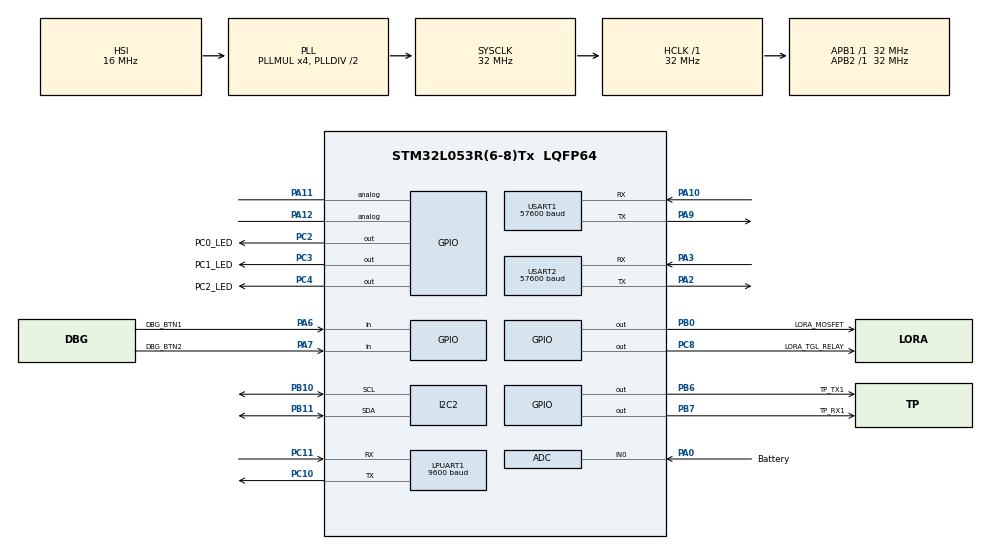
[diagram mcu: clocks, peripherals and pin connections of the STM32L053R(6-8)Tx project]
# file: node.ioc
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Dma.Request0=USART2_RX
Dma.Request1=USART2_TX
Dma.Request2=USART1_RX
Dma.Request3=USART1_TX
Dma.USART1_RX.2.Direction=DMA_PERIPH_TO_MEMORY
Dma.USART1_RX.2.Instance=DMA1_Channel3
Dma.USART1_RX.2.MemDataAlignment=DMA_MDATAALIGN_BYTE
Dma.USART1_RX.2.MemInc=DMA_MINC_ENABLE
Dma.USART1_RX.2.Mode=DMA_NORMAL
Dma.USART1_RX.2.PeriphDataAlignment=DMA_PDATAALIGN_BYTE
Dma.USART1_RX.2.PeriphInc=DMA_PINC_DISABLE
Dma.USART1_RX.2.Priority=DMA_PRIORITY_LOW
Dma.USART1_TX.3.Direction=DMA_MEMORY_TO_PERIPH
Dma.USART1_TX.3.Instance=DMA1_Channel2
Dma.USART1_TX.3.MemDataAlignment=DMA_MDATAALIGN_BYTE
Dma.USART1_TX.3.MemInc=DMA_MINC_ENABLE
Dma.USART1_TX.3.Mode=DMA_NORMAL
Dma.USART1_TX.3.PeriphDataAlignment=DMA_PDATAALIGN_BYTE
Dma.USART1_TX.3.PeriphInc=DMA_PINC_DISABLE
Dma.USART1_TX.3.Priority=DMA_PRIORITY_LOW
Dma.USART2_RX.0.Direction=DMA_PERIPH_TO_MEMORY
Dma.USART2_RX.0.Instance=DMA1_Channel5
Dma.USART2_RX.0.MemDataAlignment=DMA_MDATAALIGN_BYTE
Dma.USART2_RX.0.MemInc=DMA_MINC_ENABLE
Dma.USART2_RX.0.Mode=DMA_NORMAL
Dma.USART2_RX.0.PeriphDataAlignment=DMA_PDATAALIGN_BYTE
Dma.USART2_RX.0.PeriphInc=DMA_PINC_DISABLE
Dma.USART2_RX.0.Priority=DMA_PRIORITY_LOW
Dma.USART2_TX.1.Direction=DMA_MEMORY_TO_PERIPH
Dma.USART2_TX.1.Instance=DMA1_Channel4
Dma.USART2_TX.1.MemDataAlignment=DMA_MDATAALIGN_BYTE
Dma.USART2_TX.1.MemInc=DMA_MINC_ENABLE
Dma.USART2_TX.1.Mode=DMA_NORMAL
Dma.USART2_TX.1.PeriphDataAlignment=DMA_PDATAALIGN_BYTE
Dma.USART2_TX.1.PeriphInc=DMA_PINC_DISABLE
Dma.USART2_TX.1.Priority=DMA_PRIORITY_LOW
I2C2.Timing=0x00B07CB4
LPTIM1.ClockPrescaler=LPTIM_PRESCALER_DIV128
LPUART1.BaudRate=9600
LPUART1.WordLength=UART_WORDLENGTH_8B
Mcu.Family=STM32L0
Mcu.Name=STM32L053R(6-8)Tx
Mcu.Package=LQFP64
NVIC.DMA1_Channel2_3_IRQn=true\:0\:0\:false\:false\:true\:false\:true\:true
NVIC.DMA1_Channel4_5_6_7_IRQn=true\:0\:0\:false\:false\:true\:false\:true\:true
NVIC.LPTIM1_IRQn=true\:0\:0\:false\:false\:true\:true\:true\:true
NVIC.RNG_LPUART1_IRQn=true\:0\:0\:false\:false\:true\:true\:true\:true
NVIC.TIM21_IRQn=true\:0\:0\:false\:false\:true\:true\:true\:true
NVIC.TIM22_IRQn=true\:0\:0\:false\:false\:true\:true\:true\:true
NVIC.USART1_IRQn=true\:0\:0\:false\:false\:true\:true\:true\:true
NVIC.USART2_IRQn=true\:0\:0\:false\:false\:true\:true\:true\:true
PA0.GPIO_Label=Battery
PA0.Signal=SharedAnalog_PA0
PA10.Mode=Asynchronous
PA10.Signal=USART1_RX
PA11.Signal=GPIO_Analog
PA12.Signal=GPIO_Analog
PA13.Mode=Serial_Wire
PA13.Signal=SYS_SWDIO
PA14.Mode=Serial_Wire
PA14.Signal=SYS_SWCLK
PA2.Mode=Asynchronous
PA2.Signal=USART2_TX
PA3.Mode=Asynchronous
PA3.Signal=USART2_RX
PA6.GPIO_Label=DBG_BTN1
PA6.Signal=GPIO_Input
PA7.GPIO_Label=DBG_BTN2
PA7.Signal=GPIO_Input
PA9.Mode=Asynchronous
PA9.Signal=USART1_TX
PB0.GPIO_Label=LORA_MOSFET
PB0.GPIO_PuPd=GPIO_NOPULL
PB0.PinState=GPIO_PIN_SET
PB0.Signal=GPIO_Output
PB10.Mode=I2C
PB10.Signal=I2C2_SCL
PB11.Mode=I2C
PB11.Signal=I2C2_SDA
PB6.GPIO_Label=TP_TX1
PB6.Signal=GPIO_Output
PB7.GPIO_Label=TP_RX1
PB7.Signal=GPIO_Output
PC10.Mode=Asynchronous
PC10.Signal=LPUART1_TX
PC11.Mode=Asynchronous
PC11.Signal=LPUART1_RX
PC2.GPIO_Label=PC0_LED
PC2.Signal=GPIO_Output
PC3.GPIO_Label=PC1_LED
PC3.Signal=GPIO_Output
PC4.GPIO_Label=PC2_LED
PC4.Signal=GPIO_Output
PC8.GPIO_Label=LORA_TGL_RELAY
PC8.Signal=GPIO_Output
PH0-OSC_IN.Signal=RCC_OSC_IN
ProjectManager.HeapSize=0x200
ProjectManager.StackSize=0x400
ProjectManager.TargetToolchain=STM32CubeIDE
RCC.AHBFreq_Value=32000000
RCC.APB1Freq_Value=32000000
RCC.APB1TimFreq_Value=32000000
RCC.APB2Freq_Value=32000000
RCC.APB2TimFreq_Value=32000000
RCC.HCLKFreq_Value=32000000
RCC.HSE_VALUE=8000000
RCC.HSI16_VALUE=16000000
RCC.HSI48_VALUE=48000000
RCC.HSI_VALUE=16000000
RCC.LSE_VALUE=32768
RCC.LptimClockSelection=RCC_LPTIM1CLKSOURCE_LSI
RCC.MSI_VALUE=2097000
RCC.PLLMUL=RCC_PLLMUL_4
RCC.SYSCLKFreq_VALUE=32000000
RCC.SYSCLKSource=RCC_SYSCLKSOURCE_PLLCLK
RCC.VCOOutputFreq_Value=64000000
RTC.Format=RTC_FORMAT_BIN
SH.SharedAnalog_PA0.0=GPIO_Analog
SH.SharedAnalog_PA0.1=ADC_IN0,IN0
TIM21.Period=9999
TIM21.Prescaler=6399
TIM22.Period=9999
TIM22.Prescaler=6399
USART1.BaudRate=57600
USART1.VirtualMode-Asynchronous=VM_ASYNC
USART2.BaudRate=57600
USART2.VirtualMode-Asynchronous=VM_ASYNC
VP_LPTIM1_VS_LPTIM_counterModeInternalClock.Mode=Counts__internal_clock_event_00
VP_RNG_VS_RNG.Mode=RNG_Activate
VP_RTC_VS_RTC_Activate.Mode=RTC_Enabled
VP_RTC_VS_RTC_Calendar.Mode=RTC_Calendar
VP_TIM21_VS_ClockSourceINT.Mode=Internal
VP_TIM22_VS_ClockSourceINT.Mode=Internal
VP_TIM6_VS_ClockSourceINT.Mode=Enable_Timer
board=custom

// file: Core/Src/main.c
/* USER CODE BEGIN Header */
/**
  ******************************************************************************
  * @file           : main.c
  * @brief          : Main program body
  ******************************************************************************
  * @attention
  *
  * Copyright (c) 2026 STMicroelectronics.
  * All rights reserved.
  *
  * This software is licensed under terms that can be found in the LICENSE file
  * in the root directory of this software component.
  * If no LICENSE file comes with this software, it is provided AS-IS.
  *
  ******************************************************************************
  */
/* USER CODE END Header */
#include "main.h"

/* USER CODE BEGIN Includes */
#include <stdio.h>
#include <stdint.h>
#include <stdbool.h>
#include <RH_RF95.h>
#include "mesh.h"
#include "ultrasonic.h"
#include <string.h>

/* USER CODE END Includes */

ADC_HandleTypeDef hadc;

I2C_HandleTypeDef hi2c2;

LPTIM_HandleTypeDef hlptim1;

UART_HandleTypeDef hlpuart1;
UART_HandleTypeDef huart1;
UART_HandleTypeDef huart2;
DMA_HandleTypeDef hdma_usart1_rx;
DMA_HandleTypeDef hdma_usart1_tx;
DMA_HandleTypeDef hdma_usart2_rx;
DMA_HandleTypeDef hdma_usart2_tx;

RNG_HandleTypeDef hrng;

RTC_HandleTypeDef hrtc;

TIM_HandleTypeDef htim6;
TIM_HandleTypeDef htim21;
TIM_HandleTypeDef htim22;

/* USER CODE BEGIN PV */
//usart2 is lora
//uart1 is USB
//lpuart1 is ultrasonic sensor
volatile RTC_TimeTypeDef current_time;
volatile RTC_DateTypeDef current_date;
#define FILTER_SIZE 20

uint8_t usb_buffer_rtc [15];
bool read_lora_fifo;
/* USER CODE END PV */

void SystemClock_Config(void);
static void MX_GPIO_Init(void);
static void MX_DMA_Init(void);
static void MX_I2C2_Init(void);
static void MX_LPUART1_UART_Init(void);
static void MX_USART1_UART_Init(void);
static void MX_USART2_UART_Init(void);
static void MX_RTC_Init(void);
static void MX_TIM21_Init(void);
static void MX_RNG_Init(void);
static void MX_TIM6_Init(void);
static void MX_TIM22_Init(void);
static void MX_LPTIM1_Init(void);
static void MX_ADC_Init(void);

/* USER CODE BEGIN 0 */
volatile bool sendfifo_ready_norm = true;
volatile int sendfifo_offset_norm = 0;
volatile bool rx_ready = false;
volatile uint8_t sendfifo_norm[FIFOSIZE_TX_NORM]; //array of data read from LoRa module
volatile uint8_t receivefifo[FIFOSIZE_RX]; //array of data read from LoRa module
volatile uint8_t sendfifo_send_message[FIFOSIZE_TX_SEND]; //array of data sending to LoRa module for an actual message send
volatile uint8_t sendfifo_rec_message[FIFOSIZE_TX_REC]; //array of data sending to LoRa module for reading FIFO buffer
volatile uint8_t rx_data[1];
volatile int sendfifo_offset_send = 0;
volatile bool sendfifo_ready_send = true;
volatile int sendfifo_offset_rec = 0;
volatile bool sendfifo_ready_rec = true;
volatile uint8_t rec_data [MESSAGE_LENGTH];
uint8_t self_addr [ADDR_LENGTH];
volatile uint8_t buff [MESH_MAX_MESSAGE_LENGTH] __attribute__((aligned(4)));
volatile bool done_with_usb_ttl_setup = false;
uint8_t message [64];

volatile bool banned_addr1_valid;
volatile bool banned_addr2_valid;
volatile uint8_t banned_addr1 [ADDR_LENGTH];
volatile uint8_t banned_addr2 [ADDR_LENGTH];

volatile bool send_normal = false;
volatile bool send_send = false;
volatile bool send_rec = false; //great names I know

volatile bool do_send = false;
volatile bool in_send = false;
volatile bool doing_cad = false;
volatile uint8_t node_distance [2];
uint8_t coords [4];
volatile uint32_t adc_val;

volatile uint8_t global_receive_mode_from_cad;
//1 means the lora timer is currently for receive mode timeout
//0 means the lora timer is currently for cad cycle

volatile uint8_t receivefifo_usb_ttl [1];

uint8_t addr_any_direction [ADDR_LENGTH];
uint8_t addr_right_direction [ADDR_LENGTH];

uint8_t complete_pass = 0;

bool isHub = false;
volatile bool usb_ttl_done = true;
volatile bool in_read_lora_fifo = false;

#define DO_SEND 0
#define DO_REC 0

#define DO_BOTH 1

/* USER CODE END 0 */

int main(void)
{

  /* MCU Configuration--------------------------------------------------------*/

  /* Reset of all peripherals, Initializes the Flash interface and the Systick. */
  HAL_Init();

  /* USER CODE BEGIN Init */
  HAL_Delay(2000);
  HAL_NVIC_DisableIRQ (SysTick_IRQn);
  HAL_NVIC_SetPriority(SysTick_IRQn, 0, 0);
  HAL_NVIC_EnableIRQ(SysTick_IRQn);//while this is added here, it needs to be at the bottom of the main function right before the loop

  /* USER CODE END Init */

  /* Configure the system clock */
  SystemClock_Config();

  /* Initialize all configured peripherals */
  MX_GPIO_Init();
  MX_DMA_Init();
  MX_I2C2_Init();
  MX_LPUART1_UART_Init();
  MX_USART1_UART_Init();
  MX_USART2_UART_Init();
  MX_RTC_Init();
  MX_TIM21_Init();
  MX_RNG_Init();
  MX_TIM6_Init();
  MX_TIM22_Init();
  MX_LPTIM1_Init();
  MX_ADC_Init();
  /* USER CODE BEGIN 2 */
  HAL_NVIC_DisableIRQ(TIM21_IRQn); //disable tim21, used for CAD cycle so it does not go off before init is done
  HAL_NVIC_DisableIRQ(TIM6_DAC_IRQn); //disable tim6, used for lora send so it does not go off before init is done
  HAL_NVIC_DisableIRQ(TIM22_IRQn);
  HAL_NVIC_DisableIRQ(LPTIM1_IRQn);
  read_lora_fifo = false;
  receivefifo[0] = 0; //added
  receivefifo_usb_ttl[0] = 0;
  HAL_GPIO_WritePin (LORA_TGL_RELAY_GPIO_Port, LORA_TGL_RELAY_Pin, GPIO_PIN_RESET);//Relay
  HAL_GPIO_WritePin(LORA_MOSFET_GPIO_Port, LORA_MOSFET_Pin, GPIO_PIN_RESET);
  HAL_Delay(1000);
  HAL_GPIO_WritePin (LORA_TGL_RELAY_GPIO_Port, LORA_TGL_RELAY_Pin, GPIO_PIN_SET);//Relay
  HAL_GPIO_WritePin(LORA_MOSFET_GPIO_Port, LORA_MOSFET_Pin, GPIO_PIN_SET);
  HAL_Delay(1000);
  __HAL_UART_CLEAR_FLAG(&hlpuart1, UART_CLEAR_OREF);
  hlpuart1.RxState = HAL_UART_STATE_READY;
  HAL_UART_Receive_IT(&hlpuart1, (uint8_t * )rx_data, 1); //ultrasonic sensor data receive on lpuart1

  HAL_UART_Receive_DMA(&huart2, (uint8_t *)receivefifo, 1); //lora
  HAL_UART_Receive_DMA(&huart1, (uint8_t *) receivefifo_usb_ttl, 1); //usb-ttl
  HAL_Delay(1000);//added
  connected_test_all();
  while(done_with_usb_ttl_setup == false){

  } //force wait to do user inputs, so add back
  get_timestamp();
  ultrasonic_init();
  lora_init(&hdma_usart2_tx, &huart2);
  mesh_init();
  HAL_Delay(1000);
  //setup_lora_send_timer(&htim6); //set up lora send data timer
  setup_lora_send_timer(&htim6, 0x1D4C0); //does send own data timer, 2 minutes
  HAL_NVIC_SetPriority(TIM21_IRQn, 2, 0); //start TIM21 since it was stopped before
  HAL_NVIC_EnableIRQ(TIM21_IRQn);
  HAL_NVIC_SetPriority(TIM6_DAC_IRQn, 2, 0);
  HAL_NVIC_EnableIRQ(TIM6_DAC_IRQn);
  HAL_NVIC_SetPriority(TIM22_IRQn, 2, 0);
  HAL_NVIC_EnableIRQ(TIM22_IRQn);
  HAL_NVIC_SetPriority(LPTIM1_IRQn, 2, 0);
  HAL_NVIC_EnableIRQ(LPTIM1_IRQn);

  HAL_NVIC_DisableIRQ (SysTick_IRQn);//this has to be added here, else HAL_Delay will not work in TIM21 IRQ
  HAL_NVIC_SetPriority(SysTick_IRQn, 0, 0);
  HAL_NVIC_EnableIRQ(SysTick_IRQn);

  HAL_TIM_Base_Start_IT(&htim21); //CAD
  HAL_TIM_Base_Start_IT(&htim22); //resending and dead
  HAL_TIM_Base_Start_IT(&htim6); //send own data
  HAL_LPTIM_Counter_Start_IT(&hlptim1, 60000);//hello

  //mesh_init();//16,17         then 18,17        then 19,17
  //self_addr[0] = 0x16;
  //self_addr[1] = 0x17;

  ///* stuff to automatically send own node data
  uint32_t message_id;
  message_id = random_number_gen(); //new since this will always be a new message (does not get passed on)
  uint8_t message_id_actual [4];
  memcpy(message_id_actual, &message_id, sizeof(uint32_t));

  mesh_send_add(addr_right_direction,self_addr,coords, (uint8_t * )node_distance, message_id_actual, 1, &hdma_usart2_tx,&huart2);
  handle_send_hello();
 // */

  /* USER CODE END 2 */

  /* Infinite loop */
  /* USER CODE BEGIN WHILE */
  while (1)
  {
	  if(DO_BOTH){
		  //here to while 1 is just for testing, remove
		  if(DO_SEND){
//			  uint8_t dest_addr [ADDR_LENGTH];
//			  dest_addr[0] = 0x16;
//			  dest_addr[1] = 0x17;
//			  uint8_t new_addr [ADDR_LENGTH];
//			  new_addr[0] = 0x18;
//			  new_addr[1] = 0x19;
//			  uint8_t message_id [4];
//			  message_id[0] = 0x12;
//			  message_id[1] = 0x13;
//			  message_id[2] = 0x14;
//			  message_id[3] = 0x15;
//			  uint8_t coords [4];
//			  coords[0] = 0x20;
//			  coords[1] = 0x21;
//			  coords[2] = 0x22;
//			  coords[3] = 0x23;
//			  uint8_t distance [2];
//			  distance[0] = 0x24;
//			  distance[1] = 0x25;
//			  mesh_send_add(dest_addr,new_addr, coords, distance, message_id, 2, &hdma_usart2_tx, &huart2);
			  handle_sending_own_data();
			  HAL_Delay(100);
			  handle_sending_own_data();
		  }
		  while(1){//this is what the lora code in the main should be
			  if(read_lora_fifo){ //
				  in_read_lora_fifo = true;
				  complete_pass = 0;
				  // stop the CAD timer since it will make the module go into sleep mode->this clears the FIFO, also stop send timer since need to receive first
				  HAL_NVIC_DisableIRQ(TIM21_IRQn);
				  HAL_NVIC_DisableIRQ(TIM6_DAC_IRQn);
				  HAL_NVIC_DisableIRQ(TIM22_IRQn);
				  HAL_NVIC_DisableIRQ(LPTIM1_IRQn);

				  read_lora_fifo = false;
//				  volatile uint8_t buff [MESH_MAX_MESSAGE_LENGTH];
				  lora_read_fifo_all((uint8_t *)buff, MESH_MAX_MESSAGE_LENGTH, true, &hdma_usart2_tx, &huart2); //second input is length
				  mesh_main_rec(buff, &hdma_usart2_tx, &huart2);

				  // start restart the CAD timer so it doesn't take the entire receive-timout time
				  HAL_TIM_Base_Stop_IT(&htim21);
				  change_lora_timer_period(0, &htim21); //0 means sleep time,
				  HAL_TIM_Base_Start_IT(&htim21);
				  in_read_lora_fifo = false;
				  //end restart the CAD timer so it doesn't take the entire receive-timout time
				  HAL_NVIC_EnableIRQ(TIM21_IRQn);
				  HAL_NVIC_EnableIRQ(TIM22_IRQn);
				  HAL_NVIC_EnableIRQ(LPTIM1_IRQn);
				  HAL_NVIC_EnableIRQ(TIM6_DAC_IRQn);

//				  HAL_GPIO_WritePin(GPIOC, PC0_LED_Pin|PC1_LED_Pin|PC2_LED_Pin, GPIO_PIN_SET);
//				  HAL_Delay(1000);
//				  HAL_GPIO_WritePin(GPIOC, PC0_LED_Pin|PC1_LED_Pin|PC2_LED_Pin, GPIO_PIN_RESET);
			  }
			  if(do_send & (!global_receive_mode_from_cad) & (!read_lora_fifo)){
				  in_send = true;
				  complete_pass = 0;
				  HAL_NVIC_DisableIRQ(TIM21_IRQn); //disable tim21, used for CAD cycle so it does not go off before init is done
				  HAL_NVIC_DisableIRQ(TIM6_DAC_IRQn);
				  HAL_NVIC_DisableIRQ(TIM22_IRQn);
				  HAL_NVIC_DisableIRQ(LPTIM1_IRQn);

				  send_item_off_send_buffer();
				  in_send = false;
				  do_send = false;

				  HAL_NVIC_EnableIRQ(TIM21_IRQn);
				  HAL_NVIC_EnableIRQ(TIM6_DAC_IRQn);
				  HAL_NVIC_EnableIRQ(TIM22_IRQn);
				  HAL_NVIC_EnableIRQ(LPTIM1_IRQn);
				  uint32_t delay = random_number_gen();//random delay
				  HAL_Delay(delay & 0x0F);
//				  HAL_GPIO_WritePin(GPIOC, PC2_LED_Pin, GPIO_PIN_SET);
//				  HAL_Delay(1000);
//				  HAL_GPIO_WritePin(GPIOC, PC2_LED_Pin, GPIO_PIN_RESET);
			  }
			  if(complete_pass > 0){
				  complete_pass = 0;
				  HAL_Delay(1000);
				  //go_to_sleep();//this should be the final line in the loop
				  //NOTE: DEBUGGER DISCONNECTS AND DOES NOT RECONNECT WHEN GO_TO_SLEEP IS CALLED
			  }
			  else{
				  complete_pass += 1;
			  }
		  }
	  }
	  if(DO_REC & !DO_BOTH){
		  if(read_lora_fifo){ //
			  in_read_lora_fifo = true;
			  // stop the CAD timer since it will make the module go into sleep mode->this clears the FIFO, also stop send timer since need to receive first
			  HAL_NVIC_DisableIRQ(TIM21_IRQn);
			  HAL_NVIC_DisableIRQ(TIM6_DAC_IRQn);

			  //lora_read_fifo_all(sendfifo_rec_message, 20, true, hdma_usart2_tx, huart2); //second input is length

			  //added below line (and commented out above line) to handle received message
			  read_lora_fifo = false;
			  //mesh_main_rec(hdma_usart2_tx, huart2);

			  // start restart the CAD timer so it doesn't take the entire receive-timout time
			  HAL_TIM_Base_Stop_IT(&htim21);
			  change_lora_timer_period(0, &htim21); //0 means sleep time,
			  HAL_TIM_Base_Start_IT(&htim21);
			  in_read_lora_fifo = false;
			  //end restart the CAD timer so it doesn't take the entire receive-timout time
			  HAL_NVIC_EnableIRQ(TIM21_IRQn);
			  HAL_NVIC_EnableIRQ(TIM6_DAC_IRQn);

			  HAL_GPIO_WritePin(GPIOC, PC0_LED_Pin|PC1_LED_Pin|PC2_LED_Pin, GPIO_PIN_SET);
			  HAL_Delay(1000);
			  HAL_GPIO_WritePin(GPIOC, PC0_LED_Pin|PC1_LED_Pin|PC2_LED_Pin, GPIO_PIN_RESET);
		  }
		  send_item_off_send_buffer();
	  }
	  if(DO_SEND & (!global_receive_mode_from_cad) & (!read_lora_fifo) & !DO_BOTH){
		  in_send = true;
		  HAL_NVIC_DisableIRQ(TIM21_IRQn); //disable tim21, used for CAD cycle so it does not go off before init is done
		  HAL_NVIC_DisableIRQ(TIM6_DAC_IRQn);

		  send_item_off_send_buffer();

		  /*hello
		  uint8_t battery[1];
		  battery[0] = 0x20;

		  mesh_send_hello(battery, hdma_usart2_tx, huart2);
		  */

		  //add
		  ///*
		  uint8_t dest_addr [ADDR_LENGTH];
		  dest_addr[0] = 0x16;
		  dest_addr[1] = 0x17;
		  uint8_t new_addr [ADDR_LENGTH];
		  new_addr[0] = 0x18;
		  new_addr[1] = 0x19;
		  uint8_t message_id [4];
		  message_id[0] = 0x12;
		  message_id[1] = 0x13;
		  message_id[2] = 0x14;
		  message_id[3] = 0x15;
		  uint8_t coords [4];
		  coords[0] = 0x20;
		  coords[1] = 0x21;
		  coords[2] = 0x22;
		  coords[3] = 0x23;
		  uint8_t distance [2];
		  distance[0] = 0x24;
		  distance[1] = 0x25;

		  mesh_send_add(dest_addr,new_addr, coords, distance, message_id, 2, &hdma_usart2_tx, &huart2);
		  //*/

		  /*dead
		  uint8_t dest_addr [ADDR_LENGTH];
		  dest_addr[0] = 0x16;
		  dest_addr[1] = 0x17;
		  uint8_t dead_addr [ADDR_LENGTH];
		  dead_addr[0] = 0x18;
		  dead_addr[1] = 0x19;
		  uint8_t message_id [4];
		  message_id[0] = 0x12;
		  message_id[1] = 0x13;
		  message_id[2] = 0x14;
		  message_id[3] = 0x15;
		  uint8_t dead_since [6];
		  dead_since[0] = 0x20;
		  dead_since[1] = 0x21;
		  dead_since[2] = 0x22;
		  dead_since[3] = 0x23;
		  dead_since[4] = 0x24;
		  dead_since[5] = 0x25;
		  uint8_t battery[2];
		  battery[0] = 0x26;
		  battery[1] = 0x27;
		  mesh_send_dead(dest_addr, dead_addr, dead_since, battery, message_id, 1, hdma_usart2_tx, huart2);
		  */

		  //poll
		  /*
		  uint8_t dest_addr [ADDR_LENGTH];
		  dest_addr[0] = 0x16;
		  dest_addr[1] = 0x17;
		  uint8_t message_id [4];
		  message_id[0] = 0x12;
		  message_id[1] = 0x13;
		  message_id[2] = 0x14;
		  message_id[3] = 0x15;
		  uint32_t new_frequency = 0x000000FF;
		  mesh_send_poll(dest_addr,message_id, new_frequency, 1, hdma_usart2_tx, huart2);
		  */

		  /* ack
		  uint8_t dest_addr [ADDR_LENGTH];
		  dest_addr[0] = 0x16;
		  dest_addr[1] = 0x17;
		  uint8_t message_id [4];
		  message_id[0] = 0x12;
		  message_id[1] = 0x13;
		  message_id[2] = 0x14;
		  message_id[3] = 0x15;
		  mesh_send_ack(dest_addr, message_id, 1, hdma_usart2_tx, huart2);
		  */
		  /*data
		  uint8_t message_id [4];
		  message_id[0] = 0x12;
		  message_id[1] = 0x13;
		  message_id[2] = 0x14;
		  message_id[3] = 0x15;
		  uint8_t dest_addr [ADDR_LENGTH];
		  dest_addr[0] = 0x16;
		  dest_addr[1] = 0x17;
		  uint8_t water_height [WATER_LENGTH];
		  water_height[0] = 0x18;
		  uint8_t battery_status [BATTERY_LENGTH];
		  battery_status[0] = 0x19;
		  uint8_t node_addr [ADDR_LENGTH];
		  node_addr[0] = 0x20;
		  node_addr[1] = 0x21;
		  uint8_t time [6];
		  time[0] = 0x22;
		  time[1] = 0x23;
		  time[2] = 0x24;
		  time[3] = 0x25;
		  time[4] = 0x26;
		  time[5] = 0x27;

		  self_addr[0] = 0x01;
		  self_addr[1] = 0xFF;
		  mesh_send_data(message_id, dest_addr, water_height, battery_status, node_addr, time, hdma_usart2_tx, huart2);
		  */
		  in_send = false;
		  HAL_Delay(100);
		  HAL_GPIO_WritePin(GPIOC, PC0_LED_Pin|PC1_LED_Pin|PC2_LED_Pin, GPIO_PIN_SET);
		  HAL_Delay(1000);
		  HAL_GPIO_WritePin(GPIOC, PC0_LED_Pin|PC1_LED_Pin|PC2_LED_Pin, GPIO_PIN_RESET);
		  //
//		  while(1){
//			  send_item_off_send_buffer();
//		  }
	  }
//	  if(read_lora_fifo){ //
//		  // start restart the CAD timer so it doesn't take the entire receive-timout time
//		  HAL_TIM_Base_Stop_IT(&htim21);
//		  change_lora_timer_period(0, &htim21); //0 means sleep time,
//		  HAL_TIM_Base_Start_IT(&htim21);
//		  //end restart the CAD timer so it doesn't take the entire receive-timout time
//		  lora_read_fifo_all(rec_data, 0x2, hdma_usart2_tx, huart2); //second input is length
//		  read_lora_fifo = false;
//		  //
//		  HAL_GPIO_WritePin(GPIOC, PC0_LED_Pin|PC1_LED_Pin|PC2_LED_Pin, GPIO_PIN_SET);
//		  HAL_Delay(1000);
//		  HAL_GPIO_WritePin(GPIOC, PC0_LED_Pin|PC1_LED_Pin|PC2_LED_Pin, GPIO_PIN_RESET);
//	  }
//	  //send message
//	  if(do_send & (!global_receive_mode_from_cad) & (!read_lora_fifo)){
//		 uint8_t data [2];
//		 data[0] = 0xF0;
//		 data[1] = 0x0F;
//		 lora_send(data, 2, hdma_usart2_tx, huart2);
//		 do_send = false;//end send
//		 HAL_GPIO_WritePin(GPIOC, PC2_LED_Pin, GPIO_PIN_SET);
//		 HAL_Delay(1000);
//		 HAL_GPIO_WritePin(GPIOC, PC2_LED_Pin, GPIO_PIN_RESET);
//		 uint32_t delay = random_number_gen();//random delay
//		 HAL_Delay(delay & 0xFF);
//	  }
	//go_to_sleep();//this should be the final line in the loop
    /* USER CODE END WHILE */

  }
}

void SystemClock_Config(void)
{
  RCC_OscInitTypeDef RCC_OscInitStruct = {0};
  RCC_ClkInitTypeDef RCC_ClkInitStruct = {0};
  RCC_PeriphCLKInitTypeDef PeriphClkInit = {0};

  /** Configure the main internal regulator output voltage
  */
  __HAL_PWR_VOLTAGESCALING_CONFIG(PWR_REGULATOR_VOLTAGE_SCALE1);

  /** Initializes the RCC Oscillators according to the specified parameters
  * in the RCC_OscInitTypeDef structure.
  */
  RCC_OscInitStruct.OscillatorType = RCC_OSCILLATORTYPE_HSI|RCC_OSCILLATORTYPE_LSI;
  RCC_OscInitStruct.HSIState = RCC_HSI_ON;
  RCC_OscInitStruct.HSICalibrationValue = RCC_HSICALIBRATION_DEFAULT;
  RCC_OscInitStruct.LSIState = RCC_LSI_ON;
  RCC_OscInitStruct.PLL.PLLState = RCC_PLL_ON;
  RCC_OscInitStruct.PLL.PLLSource = RCC_PLLSOURCE_HSI;
  RCC_OscInitStruct.PLL.PLLMUL = RCC_PLLMUL_4;
  RCC_OscInitStruct.PLL.PLLDIV = RCC_PLLDIV_2;
  if (HAL_RCC_OscConfig(&RCC_OscInitStruct) != HAL_OK)
  {
    Error_Handler();
  }

  /** Initializes the CPU, AHB and APB buses clocks
  */
  RCC_ClkInitStruct.ClockType = RCC_CLOCKTYPE_HCLK|RCC_CLOCKTYPE_SYSCLK
                              |RCC_CLOCKTYPE_PCLK1|RCC_CLOCKTYPE_PCLK2;
  RCC_ClkInitStruct.SYSCLKSource = RCC_SYSCLKSOURCE_PLLCLK;
  RCC_ClkInitStruct.AHBCLKDivider = RCC_SYSCLK_DIV1;
  RCC_ClkInitStruct.APB1CLKDivider = RCC_HCLK_DIV1;
  RCC_ClkInitStruct.APB2CLKDivider = RCC_HCLK_DIV1;

  if (HAL_RCC_ClockConfig(&RCC_ClkInitStruct, FLASH_LATENCY_1) != HAL_OK)
  {
    Error_Handler();
  }
  PeriphClkInit.PeriphClockSelection = RCC_PERIPHCLK_USART1|RCC_PERIPHCLK_USART2
                              |RCC_PERIPHCLK_LPUART1|RCC_PERIPHCLK_RTC
                              |RCC_PERIPHCLK_USB|RCC_PERIPHCLK_LPTIM1;
  PeriphClkInit.Usart1ClockSelection = RCC_USART1CLKSOURCE_PCLK2;
  PeriphClkInit.Usart2ClockSelection = RCC_USART2CLKSOURCE_PCLK1;
  PeriphClkInit.Lpuart1ClockSelection = RCC_LPUART1CLKSOURCE_PCLK1;
  PeriphClkInit.RTCClockSelection = RCC_RTCCLKSOURCE_LSI;
  PeriphClkInit.UsbClockSelection = RCC_USBCLKSOURCE_PLL;
  PeriphClkInit.LptimClockSelection = RCC_LPTIM1CLKSOURCE_LSI;

  if (HAL_RCCEx_PeriphCLKConfig(&PeriphClkInit) != HAL_OK)
  {
    Error_Handler();
  }
}

static void MX_ADC_Init(void)
{

  ADC_ChannelConfTypeDef sConfig = {0};

  /** Configure the global features of the ADC (Clock, Resolution, Data Alignment and number of conversion)
  */
  hadc.Instance = ADC1;
  hadc.Init.OversamplingMode = DISABLE;
  hadc.Init.ClockPrescaler = ADC_CLOCK_SYNC_PCLK_DIV2;
  hadc.Init.Resolution = ADC_RESOLUTION_12B;
  hadc.Init.SamplingTime = ADC_SAMPLETIME_1CYCLE_5;
  hadc.Init.ScanConvMode = ADC_SCAN_DIRECTION_FORWARD;
  hadc.Init.DataAlign = ADC_DATAALIGN_RIGHT;
  hadc.Init.ContinuousConvMode = DISABLE;
  hadc.Init.DiscontinuousConvMode = DISABLE;
  hadc.Init.ExternalTrigConvEdge = ADC_EXTERNALTRIGCONVEDGE_NONE;
  hadc.Init.ExternalTrigConv = ADC_SOFTWARE_START;
  hadc.Init.DMAContinuousRequests = DISABLE;
  hadc.Init.EOCSelection = ADC_EOC_SINGLE_CONV;
  hadc.Init.Overrun = ADC_OVR_DATA_PRESERVED;
  hadc.Init.LowPowerAutoWait = DISABLE;
  hadc.Init.LowPowerFrequencyMode = DISABLE;
  hadc.Init.LowPowerAutoPowerOff = DISABLE;
  if (HAL_ADC_Init(&hadc) != HAL_OK)
  {
    Error_Handler();
  }

  /** Configure for the selected ADC regular channel to be converted.
  */
  sConfig.Channel = ADC_CHANNEL_0;
  sConfig.Rank = ADC_RANK_CHANNEL_NUMBER;
  if (HAL_ADC_ConfigChannel(&hadc, &sConfig) != HAL_OK)
  {
    Error_Handler();
  }

}

static void MX_I2C2_Init(void)
{

  hi2c2.Instance = I2C2;
  hi2c2.Init.Timing = 0x00B07CB4;
  hi2c2.Init.OwnAddress1 = 0;
  hi2c2.Init.AddressingMode = I2C_ADDRESSINGMODE_7BIT;
  hi2c2.Init.DualAddressMode = I2C_DUALADDRESS_DISABLE;
  hi2c2.Init.OwnAddress2 = 0;
  hi2c2.Init.OwnAddress2Masks = I2C_OA2_NOMASK;
  hi2c2.Init.GeneralCallMode = I2C_GENERALCALL_DISABLE;
  hi2c2.Init.NoStretchMode = I2C_NOSTRETCH_DISABLE;
  if (HAL_I2C_Init(&hi2c2) != HAL_OK)
  {
    Error_Handler();
  }

  /** Configure Analogue filter
  */
  if (HAL_I2CEx_ConfigAnalogFilter(&hi2c2, I2C_ANALOGFILTER_ENABLE) != HAL_OK)
  {
    Error_Handler();
  }

  /** Configure Digital filter
  */
  if (HAL_I2CEx_ConfigDigitalFilter(&hi2c2, 0) != HAL_OK)
  {
    Error_Handler();
  }

}

static void MX_LPTIM1_Init(void)
{

  hlptim1.Instance = LPTIM1;
  hlptim1.Init.Clock.Source = LPTIM_CLOCKSOURCE_APBCLOCK_LPOSC;
  hlptim1.Init.Clock.Prescaler = LPTIM_PRESCALER_DIV128;
  hlptim1.Init.Trigger.Source = LPTIM_TRIGSOURCE_SOFTWARE;
  hlptim1.Init.OutputPolarity = LPTIM_OUTPUTPOLARITY_HIGH;
  hlptim1.Init.UpdateMode = LPTIM_UPDATE_IMMEDIATE;
  hlptim1.Init.CounterSource = LPTIM_COUNTERSOURCE_INTERNAL;
  if (HAL_LPTIM_Init(&hlptim1) != HAL_OK)
  {
    Error_Handler();
  }

}

static void MX_LPUART1_UART_Init(void)
{

  hlpuart1.Instance = LPUART1;
  hlpuart1.Init.BaudRate = 9600;
  hlpuart1.Init.WordLength = UART_WORDLENGTH_8B;
  hlpuart1.Init.StopBits = UART_STOPBITS_1;
  hlpuart1.Init.Parity = UART_PARITY_NONE;
  hlpuart1.Init.Mode = UART_MODE_TX_RX;
  hlpuart1.Init.HwFlowCtl = UART_HWCONTROL_NONE;
  hlpuart1.Init.OneBitSampling = UART_ONE_BIT_SAMPLE_DISABLE;
  hlpuart1.AdvancedInit.AdvFeatureInit = UART_ADVFEATURE_NO_INIT;
  if (HAL_UART_Init(&hlpuart1) != HAL_OK)
  {
    Error_Handler();
  }
  /* USER CODE BEGIN LPUART1_Init 2 */
  //mode rx instead of tx_rx

  /* USER CODE END LPUART1_Init 2 */

}

static void MX_USART1_UART_Init(void)
{

  huart1.Instance = USART1;
  huart1.Init.BaudRate = 57600;
  huart1.Init.WordLength = UART_WORDLENGTH_8B;
  huart1.Init.StopBits = UART_STOPBITS_1;
  huart1.Init.Parity = UART_PARITY_NONE;
  huart1.Init.Mode = UART_MODE_TX_RX;
  huart1.Init.HwFlowCtl = UART_HWCONTROL_NONE;
  huart1.Init.OverSampling = UART_OVERSAMPLING_16;
  huart1.Init.OneBitSampling = UART_ONE_BIT_SAMPLE_DISABLE;
  huart1.AdvancedInit.AdvFeatureInit = UART_ADVFEATURE_NO_INIT;
  if (HAL_UART_Init(&huart1) != HAL_OK)
  {
    Error_Handler();
  }

}

static void MX_USART2_UART_Init(void)
{

  huart2.Instance = USART2;
  huart2.Init.BaudRate = 57600;
  huart2.Init.WordLength = UART_WORDLENGTH_8B;
  huart2.Init.StopBits = UART_STOPBITS_1;
  huart2.Init.Parity = UART_PARITY_NONE;
  huart2.Init.Mode = UART_MODE_TX_RX;
  huart2.Init.HwFlowCtl = UART_HWCONTROL_NONE;
  huart2.Init.OverSampling = UART_OVERSAMPLING_16;
  huart2.Init.OneBitSampling = UART_ONE_BIT_SAMPLE_DISABLE;
  huart2.AdvancedInit.AdvFeatureInit = UART_ADVFEATURE_NO_INIT;
  if (HAL_UART_Init(&huart2) != HAL_OK)
  {
    Error_Handler();
  }

}

static void MX_RNG_Init(void)
{

  hrng.Instance = RNG;
  if (HAL_RNG_Init(&hrng) != HAL_OK)
  {
    Error_Handler();
  }

}

static void MX_RTC_Init(void)
{

  RTC_TimeTypeDef sTime = {0};
  RTC_DateTypeDef sDate = {0};

  /** Initialize RTC Only
  */
  hrtc.Instance = RTC;
  hrtc.Init.HourFormat = RTC_HOURFORMAT_24;
  hrtc.Init.AsynchPrediv = 127;
  hrtc.Init.SynchPrediv = 255;
  hrtc.Init.OutPut = RTC_OUTPUT_DISABLE;
  hrtc.Init.OutPutRemap = RTC_OUTPUT_REMAP_NONE;
  hrtc.Init.OutPutPolarity = RTC_OUTPUT_POLARITY_HIGH;
  hrtc.Init.OutPutType = RTC_OUTPUT_TYPE_OPENDRAIN;
  if (HAL_RTC_Init(&hrtc) != HAL_OK)
  {
    Error_Handler();
  }

  /** Initialize RTC and set the Time and Date
  */
  sTime.Hours = 0;
  sTime.Minutes = 0;
  sTime.Seconds = 0;
  sTime.DayLightSaving = RTC_DAYLIGHTSAVING_NONE;
  sTime.StoreOperation = RTC_STOREOPERATION_RESET;
  if (HAL_RTC_SetTime(&hrtc, &sTime, RTC_FORMAT_BIN) != HAL_OK)
  {
    Error_Handler();
  }
  sDate.WeekDay = RTC_WEEKDAY_MONDAY;
  sDate.Month = RTC_MONTH_JANUARY;
  sDate.Date = 1;
  sDate.Year = 0;

  if (HAL_RTC_SetDate(&hrtc, &sDate, RTC_FORMAT_BIN) != HAL_OK)
  {
    Error_Handler();
  }

}

static void MX_TIM6_Init(void)
{

  TIM_MasterConfigTypeDef sMasterConfig = {0};

  htim6.Instance = TIM6;
  htim6.Init.Prescaler = 0;
  htim6.Init.CounterMode = TIM_COUNTERMODE_UP;
  htim6.Init.Period = 65535;
  htim6.Init.AutoReloadPreload = TIM_AUTORELOAD_PRELOAD_DISABLE;
  if (HAL_TIM_Base_Init(&htim6) != HAL_OK)
  {
    Error_Handler();
  }
  sMasterConfig.MasterOutputTrigger = TIM_TRGO_RESET;
  sMasterConfig.MasterSlaveMode = TIM_MASTERSLAVEMODE_DISABLE;
  if (HAL_TIMEx_MasterConfigSynchronization(&htim6, &sMasterConfig) != HAL_OK)
  {
    Error_Handler();
  }

}

static void MX_TIM21_Init(void)
{

  TIM_ClockConfigTypeDef sClockSourceConfig = {0};
  TIM_MasterConfigTypeDef sMasterConfig = {0};

  htim21.Instance = TIM21;
  htim21.Init.Prescaler = 6399;
  htim21.Init.CounterMode = TIM_COUNTERMODE_UP;
  htim21.Init.Period = 9999;
  htim21.Init.ClockDivision = TIM_CLOCKDIVISION_DIV1;
  htim21.Init.AutoReloadPreload = TIM_AUTORELOAD_PRELOAD_DISABLE;
  if (HAL_TIM_Base_Init(&htim21) != HAL_OK)
  {
    Error_Handler();
  }
  sClockSourceConfig.ClockSource = TIM_CLOCKSOURCE_INTERNAL;
  if (HAL_TIM_ConfigClockSource(&htim21, &sClockSourceConfig) != HAL_OK)
  {
    Error_Handler();
  }
  sMasterConfig.MasterOutputTrigger = TIM_TRGO_RESET;
  sMasterConfig.MasterSlaveMode = TIM_MASTERSLAVEMODE_DISABLE;
  if (HAL_TIMEx_MasterConfigSynchronization(&htim21, &sMasterConfig) != HAL_OK)
  {
    Error_Handler();
  }

}

static void MX_TIM22_Init(void)
{

  TIM_ClockConfigTypeDef sClockSourceConfig = {0};
  TIM_MasterConfigTypeDef sMasterConfig = {0};

  htim22.Instance = TIM22;
  htim22.Init.Prescaler = 6399;
  htim22.Init.CounterMode = TIM_COUNTERMODE_UP;
  htim22.Init.Period = 9999;
  htim22.Init.ClockDivision = TIM_CLOCKDIVISION_DIV1;
  htim22.Init.AutoReloadPreload = TIM_AUTORELOAD_PRELOAD_DISABLE;
  if (HAL_TIM_Base_Init(&htim22) != HAL_OK)
  {
    Error_Handler();
  }
  sClockSourceConfig.ClockSource = TIM_CLOCKSOURCE_INTERNAL;
  if (HAL_TIM_ConfigClockSource(&htim22, &sClockSourceConfig) != HAL_OK)
  {
    Error_Handler();
  }
  sMasterConfig.MasterOutputTrigger = TIM_TRGO_RESET;
  sMasterConfig.MasterSlaveMode = TIM_MASTERSLAVEMODE_DISABLE;
  if (HAL_TIMEx_MasterConfigSynchronization(&htim22, &sMasterConfig) != HAL_OK)
  {
    Error_Handler();
  }

}

static void MX_DMA_Init(void)
{

  /* DMA controller clock enable */
  __HAL_RCC_DMA1_CLK_ENABLE();

  /* DMA interrupt init */
  /* DMA1_Channel2_3_IRQn interrupt configuration */
  HAL_NVIC_SetPriority(DMA1_Channel2_3_IRQn, 0, 0);
  HAL_NVIC_EnableIRQ(DMA1_Channel2_3_IRQn);
  /* DMA1_Channel4_5_6_7_IRQn interrupt configuration */
  HAL_NVIC_SetPriority(DMA1_Channel4_5_6_7_IRQn, 0, 0);
  HAL_NVIC_EnableIRQ(DMA1_Channel4_5_6_7_IRQn);

}

static void MX_GPIO_Init(void)
{
  GPIO_InitTypeDef GPIO_InitStruct = {0};

  /* GPIO Ports Clock Enable */
  __HAL_RCC_GPIOC_CLK_ENABLE();
  __HAL_RCC_GPIOH_CLK_ENABLE();
  __HAL_RCC_GPIOA_CLK_ENABLE();
  __HAL_RCC_GPIOB_CLK_ENABLE();
  __HAL_RCC_GPIOD_CLK_ENABLE();

  /*Configure GPIO pin Output Level */
  HAL_GPIO_WritePin(GPIOC, PC0_LED_Pin|PC1_LED_Pin|PC2_LED_Pin|LORA_TGL_RELAY_Pin, GPIO_PIN_RESET);

  /*Configure GPIO pin Output Level */
  HAL_GPIO_WritePin(LORA_MOSFET_GPIO_Port, LORA_MOSFET_Pin, GPIO_PIN_SET);

  /*Configure GPIO pin Output Level */
  HAL_GPIO_WritePin(GPIOB, TP_TX1_Pin|TP_RX1_Pin, GPIO_PIN_RESET);

  /*Configure GPIO pins : PC13 PC14 PC15 PC0
                           PC1 PC5 PC6 PC7
                           PC9 PC12 */
  GPIO_InitStruct.Pin = GPIO_PIN_13|GPIO_PIN_14|GPIO_PIN_15|GPIO_PIN_0
                          |GPIO_PIN_1|GPIO_PIN_5|GPIO_PIN_6|GPIO_PIN_7
                          |GPIO_PIN_9|GPIO_PIN_12;
  GPIO_InitStruct.Mode = GPIO_MODE_ANALOG;
  GPIO_InitStruct.Pull = GPIO_NOPULL;
  HAL_GPIO_Init(GPIOC, &GPIO_InitStruct);

  /*Configure GPIO pin : PH1 */
  GPIO_InitStruct.Pin = GPIO_PIN_1;
  GPIO_InitStruct.Mode = GPIO_MODE_ANALOG;
  GPIO_InitStruct.Pull = GPIO_NOPULL;
  HAL_GPIO_Init(GPIOH, &GPIO_InitStruct);

  /*Configure GPIO pins : PC0_LED_Pin PC1_LED_Pin PC2_LED_Pin LORA_TGL_RELAY_Pin */
  GPIO_InitStruct.Pin = PC0_LED_Pin|PC1_LED_Pin|PC2_LED_Pin|LORA_TGL_RELAY_Pin;
  GPIO_InitStruct.Mode = GPIO_MODE_OUTPUT_PP;
  GPIO_InitStruct.Pull = GPIO_NOPULL;
  GPIO_InitStruct.Speed = GPIO_SPEED_FREQ_LOW;
  HAL_GPIO_Init(GPIOC, &GPIO_InitStruct);

  /*Configure GPIO pins : PA1 PA4 PA5 PA8
                           PA11 PA12 PA15 */
  GPIO_InitStruct.Pin = GPIO_PIN_1|GPIO_PIN_4|GPIO_PIN_5|GPIO_PIN_8
                          |GPIO_PIN_11|GPIO_PIN_12|GPIO_PIN_15;
  GPIO_InitStruct.Mode = GPIO_MODE_ANALOG;
  GPIO_InitStruct.Pull = GPIO_NOPULL;
  HAL_GPIO_Init(GPIOA, &GPIO_InitStruct);

  /*Configure GPIO pins : DBG_BTN1_Pin DBG_BTN2_Pin */
  GPIO_InitStruct.Pin = DBG_BTN1_Pin|DBG_BTN2_Pin;
  GPIO_InitStruct.Mode = GPIO_MODE_INPUT;
  GPIO_InitStruct.Pull = GPIO_NOPULL;
  HAL_GPIO_Init(GPIOA, &GPIO_InitStruct);

  /*Configure GPIO pins : LORA_MOSFET_Pin TP_TX1_Pin TP_RX1_Pin */
  GPIO_InitStruct.Pin = LORA_MOSFET_Pin|TP_TX1_Pin|TP_RX1_Pin;
  GPIO_InitStruct.Mode = GPIO_MODE_OUTPUT_PP;
  GPIO_InitStruct.Pull = GPIO_NOPULL;
  GPIO_InitStruct.Speed = GPIO_SPEED_FREQ_LOW;
  HAL_GPIO_Init(GPIOB, &GPIO_InitStruct);

  /*Configure GPIO pins : PB1 PB2 PB12 PB13
                           PB14 PB15 PB3 PB4
                           PB5 PB8 PB9 */
  GPIO_InitStruct.Pin = GPIO_PIN_1|GPIO_PIN_2|GPIO_PIN_12|GPIO_PIN_13
                          |GPIO_PIN_14|GPIO_PIN_15|GPIO_PIN_3|GPIO_PIN_4
                          |GPIO_PIN_5|GPIO_PIN_8|GPIO_PIN_9;
  GPIO_InitStruct.Mode = GPIO_MODE_ANALOG;
  GPIO_InitStruct.Pull = GPIO_NOPULL;
  HAL_GPIO_Init(GPIOB, &GPIO_InitStruct);

  /*Configure GPIO pin : PD2 */
  GPIO_InitStruct.Pin = GPIO_PIN_2;
  GPIO_InitStruct.Mode = GPIO_MODE_ANALOG;
  GPIO_InitStruct.Pull = GPIO_NOPULL;
  HAL_GPIO_Init(GPIOD, &GPIO_InitStruct);

}

/* USER CODE BEGIN 4 */
void go_to_sleep(void){
	HAL_SuspendTick();
	HAL_PWR_EnterSLEEPMode(PWR_LOWPOWERREGULATOR_ON, PWR_SLEEPENTRY_WFI);
	HAL_ResumeTick();
}

void get_timestamp(void){
	HAL_RTC_GetTime(&hrtc, (RTC_TimeTypeDef *)&current_time, RTC_FORMAT_BIN);
	HAL_RTC_GetDate(&hrtc, (RTC_DateTypeDef *)&current_date, RTC_FORMAT_BIN);
}

void uart_set_rtc(void){
	//this should be called when the user indicates they are about to send rtc time and date data

	//use one buffer with size 7
	while (HAL_UART_Receive(&huart1, usb_buffer_rtc, 15, 240000) != HAL_OK){ //last is timeout in ms, 60000 is 1 minute
		//do nothing
	}

	RTC_TimeTypeDef set_time;
	RTC_DateTypeDef set_date;
	set_time.Hours = usb_buffer_rtc[0];// 24 hour time
	set_time.Minutes = usb_buffer_rtc[1];
	set_time.Seconds = usb_buffer_rtc[2];

	set_date.WeekDay = usb_buffer_rtc[3]; //monday = 1, tuesday = 2,...
	set_date.Month = usb_buffer_rtc[4]; //1 = January, 2 = February, ...
	set_date.Date = usb_buffer_rtc[5];//day
	set_date.Year = usb_buffer_rtc[6];//just 26 not 2006
	set_time_and_date(&set_time, &set_date);
	node_distance[0] = usb_buffer_rtc[7];
	node_distance[1] = usb_buffer_rtc[8];
	coords[0] = usb_buffer_rtc[9];
	coords[1] = usb_buffer_rtc[10];
	coords[2] = usb_buffer_rtc[11];
	coords[3] = usb_buffer_rtc[12];
	self_addr[0] = usb_buffer_rtc[13];
	self_addr[1] = usb_buffer_rtc[14];
	done_with_usb_ttl_setup = true;
	//uint8_t message [20];
	message[0] = 'r';
	message[1] = 't';
	message[2] = 'c';
	message[3] = ' ';
	message[4] = 'a';
	message[5] = 'n';
	message[6] = 'd';
	message[7] = ' ';
	message[8] = 'd';
	message[9] = 'i';
	message[10] = 's';
	message[11] = 't';
	message[12] = ' ';
	message[13] = 'a';
	message[14] = 'r';
	message[15] = 'e';
	message[16] = ' ';
	message[17] = 's';
	message[18] = 'e';
	message[19] = 't';
	while(usb_ttl_done == false);
	send_usb_ttl(message, 20, &huart1);

}

void ban_addr(void){
	while (HAL_UART_Receive(&huart1, usb_buffer_rtc, 6, 240000) != HAL_OK){ //last is timeout in ms, 60000 is 1 minute
		//do nothing
	}
	banned_addr1_valid = (usb_buffer_rtc[0] != 0);//valid 1
	banned_addr1[0] = usb_buffer_rtc[1];//addr[0]
	banned_addr1[1] = usb_buffer_rtc[2];//addr[1]
	banned_addr2_valid = (usb_buffer_rtc[3] != 0);//valid 2
	banned_addr2[0] = usb_buffer_rtc[4];//addr2[0]
	banned_addr2[1] = usb_buffer_rtc[5];//addr2[1]
//	uint8_t message [9];
	message[0] = 'b';
	message[1] = 'a';
	message[2] = 'n';
	message[3] = ' ';
	message[4] = 'a';
	message[5] = 'd';
	message[6] = 'd';
	message[7] = 'e';
	message[8] = 'd';
	while(usb_ttl_done == false);
	send_usb_ttl(message, 9, &huart1);
	HAL_UART_Receive_DMA(&huart1, (uint8_t *) receivefifo_usb_ttl, 1);
}

void set_time_and_date(volatile RTC_TimeTypeDef *time, volatile RTC_DateTypeDef *date){
	if(HAL_RTC_SetTime(&hrtc, (RTC_TimeTypeDef *)time, RTC_FORMAT_BIN) != HAL_OK){
		//error
	}
	if(HAL_RTC_SetDate(&hrtc, (RTC_DateTypeDef *)date, RTC_FORMAT_BIN) != HAL_OK){
		//error
	}
	HAL_UART_Receive_DMA(&huart1, (uint8_t *) receivefifo_usb_ttl, 1); //usb-ttl
	//turns on DMA for receive again since non-dma was used before
}

void send_usb_ttl(uint8_t * message, uint8_t length, UART_HandleTypeDef * huart){
	while (usb_ttl_done == false || huart->gState != HAL_UART_STATE_READY){
		//do nothing
	}
	usb_ttl_done = false;
	HAL_StatusTypeDef result;
	result = HAL_UART_Transmit_DMA(huart, message, length);
	if(result != HAL_OK){
//		while(1){
//			//error
//		}
	}
}

void connected_test_all(void){
	HAL_GPIO_WritePin(GPIOC, PC0_LED_Pin|PC1_LED_Pin|PC2_LED_Pin, GPIO_PIN_SET);//turn on all LEDs

	connected_test(&hdma_usart2_tx, &huart2);//check LoRa

	//check Ultrasonic
	//lpuart1

	//send something to USB-TTL (don't require a response because it might not be connected)
	//uint8_t message [6];
	message[0] = 't';
	message[1] = 'e';
	message[2] = 's';
	message[3] = 't';
	message[4] = '\r';
	message[5] = '\n';
	send_usb_ttl(message, 6, &huart1);

	//wait some time
	HAL_Delay(1000);

	HAL_GPIO_WritePin(GPIOC, PC0_LED_Pin|PC1_LED_Pin|PC2_LED_Pin, GPIO_PIN_RESET);//turn off all LEDs

}

void HAL_UART_RxCpltCallback (UART_HandleTypeDef *huart){
	if(huart->Instance == USART2){ //lora
		//normal code
		//receivefifo[0] = 0;
		rx_ready = true;
		//then call receive again
		HAL_UART_Receive_DMA(&huart2, (uint8_t *)receivefifo, 1);
		if(global_receive_mode_from_cad == 1){
			global_receive_mode_from_cad = 0;
			//this is for when CAD mode detected a preamble
			//this should not happen, figure out what to do here later
			if(receivefifo[0] == 0x49){
				//this is when the response is I (0x49)
				//this means this is actually the I response for a DIO interrupt
				//call the read FIFO and figure out response function
				//lora_read_fifo_all(rec_data, 0x2, hdma_usart1_tx, huart[0]); //second input is length
				//HAL_NVIC_SetPendingIRQ(1);//above line is called in this interrupt to deal with interrupt priorities
				int value;
				value = uart_read(); //dummy read to get rid of the I response
				if((in_read_lora_fifo == false) & (in_send == false)){
					read_lora_fifo = true;
				}
				else{
//					while(1){
//
//					}
				}
			}
		}
	}
	//ADDED FOR ULTRASONIC
	else if(huart->Instance == LPUART1){ // ultrasonic on LPUART1
		ultrasonic_process_rx(rx_data[0]);
		__HAL_UART_CLEAR_FLAG(&hlpuart1, UART_CLEAR_OREF);
		hlpuart1.RxState = HAL_UART_STATE_READY;
		HAL_UART_Receive_IT(&hlpuart1, (uint8_t * )rx_data, 1);
		// State Machine to align packet
//		if (packet_idx == 0 && rx_data[0] != 0xFF) {
//			// wait for header byte
//			packet_idx = 0;
//		} else {
//			packet[packet_idx++] = rx_data[0];
//		}
//
//		//once 4 bytes
//		if (packet_idx == 4) {
//			// Sum the first three bytes and mask to 8 bits
//			uint8_t sum = (packet[0] + packet[1] + packet[2]) & 0xFF;
//
//			if (sum == packet[3]) {
//				uint8_t raw_val = (packet[1] << 8) | packet[2];
//				readings[read_idx] = raw_val;
//				read_idx = (read_idx + 1) % FILTER_SIZE;
//				uint32_t total = 0;
//				for(int i = 0; i < FILTER_SIZE; i++) {
//					total += readings[i];
//				}
//				distance_mm = total / FILTER_SIZE;
//
//				if (current_state == STATE_SAMPLING) {
//					long_term_sum += raw_val;
//					sample_count++;
//				}
//		        data_ready = 1; //signal finish valid reading
//			}
//			packet_idx = 0; // reset index
//		}
//		HAL_UART_Receive_IT(&hlpuart1, (uint8_t *)rx_data, 1);
	}
	else if(huart->Instance == USART1){ //usb-ttl
		if(receivefifo_usb_ttl[0] == 100){ //special character to indicate setting RTC
			uart_set_rtc();
			//HAL_UART_Receive_DMA(&huart1, (uint8_t *)receivefifo_usb_ttl, 1);
		}
		else if(receivefifo_usb_ttl[0] == 111){
			ban_addr();//ban addr
		}
		else{//ignore
			HAL_UART_Receive_DMA(&huart1, (uint8_t *)receivefifo_usb_ttl, 1); //usb-ttl
		}
	}
}

void HAL_UART_TxCpltCallback(UART_HandleTypeDef *huart)
{
	if(huart->Instance == USART2){//lora
		if(send_normal){
			for (int i = 0;  i < FIFOSIZE_TX_NORM; i++){
				sendfifo_norm[i] = 0;
				}
			sendfifo_offset_norm = 0;
			sendfifo_ready_norm = true;
			send_normal = false;
		}
		else if(send_send){
			for (int i = 0;  i < FIFOSIZE_TX_SEND; i++){
				sendfifo_send_message[i] = 0;
			}
			sendfifo_offset_send = 0;
			sendfifo_ready_send = true;
			send_send = false;
		}
		else if(send_rec){
			for (int i = 0;  i < FIFOSIZE_TX_REC; i++){
				sendfifo_rec_message[i] = 0;
			}
			sendfifo_offset_rec = 0;
			sendfifo_ready_rec = true;
			send_rec = false;
		}
		else{
			//should not happen, error
			while (true){
				//infinite loop to know something is wrong
			}
		}
	}
	else if(huart->Instance == USART1){//usb-ttl
		//do nothing
		usb_ttl_done = true;
	}

}

//void HAL_TIM_IC_CaptureCallback(TIM_HandleTypeDef *htim) {
//    if (htim->Instance == TIM2) {
//        uint32_t period = HAL_TIM_ReadCapturedValue(htim, TIM_CHANNEL_1);
//        uint32_t pulse_width = HAL_TIM_ReadCapturedValue(htim, TIM_CHANNEL_2);
//        // Duty Cycle % = (pulse_width * 100) / period
//   }
//}

/* USER CODE END 4 */

void Error_Handler(void)
{
  __disable_irq();
  while (1)
  {
  }
}
